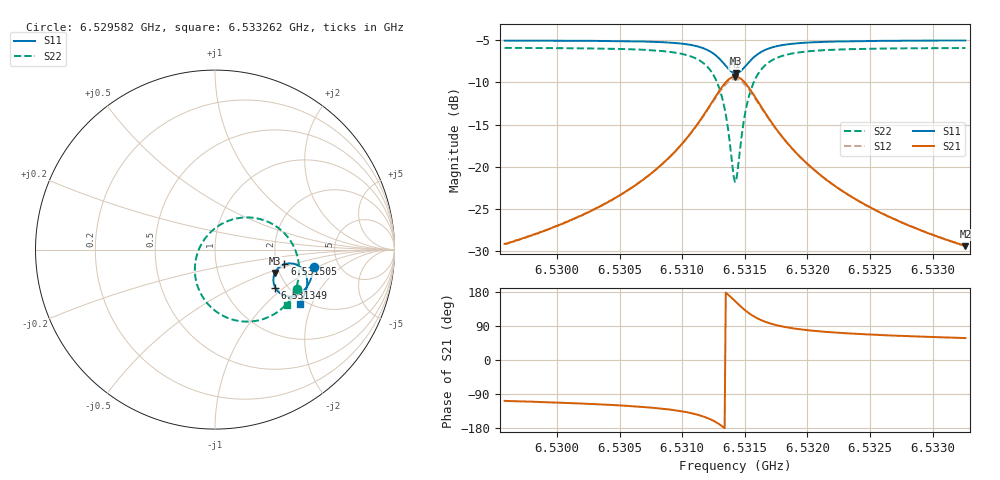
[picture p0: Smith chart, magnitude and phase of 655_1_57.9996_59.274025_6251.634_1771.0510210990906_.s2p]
#  HZ  S  RI  R  50.00
! Rohde & Schwarz Vector Network Analyzer
! Rohde-Schwarz,ZNB20-2Port,1311601062101988,3.16
! Created: UTC 3/21/2024, 1:19:42 AM
! freq[Hz]  re:S11  im:S11  re:S21  im:S21  re:S12  im:S12  re:S22  im:S22
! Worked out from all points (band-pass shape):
!   401 points, 6.529582 GHz to 6.533262 GHz, reference 50 ohm
!   highest |S21| = -9.31 dB at 6.531422 GHz (marker M1); lowest = -29.5 dB at 6.533262 GHz (marker M2)
!   |S21| within 3 dB of the highest: 6.53124 GHz to 6.531608 GHz (367.8 kHz wide, 0.00563 % of centre)
!   lowest |S11| = -8.9 dB at 6.531431 GHz (marker M3), VSWR 2.12, Z = 94.6 - j28.2 ohm
!   |S11| at or under -10 dB: nowhere
!   |S22| runs from -21.8 to -5.9 dB; largest |S21 - S12| = 0.014
!   S11 on the Smith chart (normalised r, x): 6.529582 GHz: 3.25, -0.94; 6.531349 GHz: 1.73, -0.87; 6.531505 GHz: 2.21, -0.43; 6.533262 GHz: 1.84, -1.64
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6.5295824e9  0.5516 -0.0996  -0.0106 -0.0331  -0.0113 -0.0328  0.4588 -0.2168
6.5301987e9  0.5382 -0.1519  -0.0216 -0.0465  -0.0229 -0.046  0.4225 -0.2752
6.5305298e9  0.5252 -0.1837  -0.0352 -0.0599  -0.0369 -0.0591  0.3874 -0.3154
6.530815e9  0.5056 -0.2163  -0.0606 -0.0789  -0.0631 -0.077  0.3301 -0.3593
6.5310358e9  0.4733 -0.2459  -0.1088 -0.0991  -0.1118 -0.095  0.2341 -0.3961
6.5311921e9  0.4224 -0.2616  -0.1882 -0.1007  -0.1898 -0.0922  0.0911 -0.3879
6.5312841e9  0.3718 -0.2491  -0.2658 -0.0622  -0.263 -0.0507  -0.0353 -0.3079
6.5313209e9  0.3498 -0.2314  -0.2979 -0.0256  -0.2917 -0.014  -0.0819 -0.2404
6.5313485e9  0.3358 -0.2118  -0.3167 0.0122  -0.3077 0.0229  -0.1054 -0.1739
6.5314037e9  0.3258 -0.1583  -0.3226 0.1085  -0.3093 0.1137  -0.0963 -0.0152
6.5314221e9  0.33 -0.1391  -0.3116 0.1415  -0.2982 0.1442  -0.0724 0.0363
6.5314313e9  0.3337 -0.1301  -0.3038 0.157  -0.2905 0.1586  -0.0568 0.0603
6.5314497e9  0.3437 -0.1134  -0.2839 0.1853  -0.2712 0.1846  -0.0191 0.1024
6.5314681e9  0.3565 -0.0995  -0.2595 0.2085  -0.248 0.2059  0.0247 0.1359
6.5315049e9  0.3869 -0.0817  -0.2043 0.2373  -0.196 0.2329  0.1202 0.1737
6.5315693e9  0.4373 -0.0787  -0.1165 0.2419  -0.1125 0.2376  0.2668 0.1656
6.5316613e9  0.4821 -0.1025  -0.0404 0.2056  -0.0389 0.2032  0.3892 0.0884
6.5317992e9  0.5077 -0.1421  0.00391 0.1505  0.00497 0.1495  0.4542 -0.0211
6.5320384e9  0.5139 -0.1895  0.0214 0.0957  0.0225 0.0952  0.4682 -0.1326
6.5323328e9  0.5071 -0.2273  0.0229 0.0634  0.0239 0.0632  0.4546 -0.2043
6.5326547e9  0.4958 -0.2585  0.0213 0.0455  0.0221 0.0452  0.4359 -0.2518
6.5332618e9  0.4714 -0.3056  0.0179 0.0285  0.0185 0.0283  0.401 -0.3094
